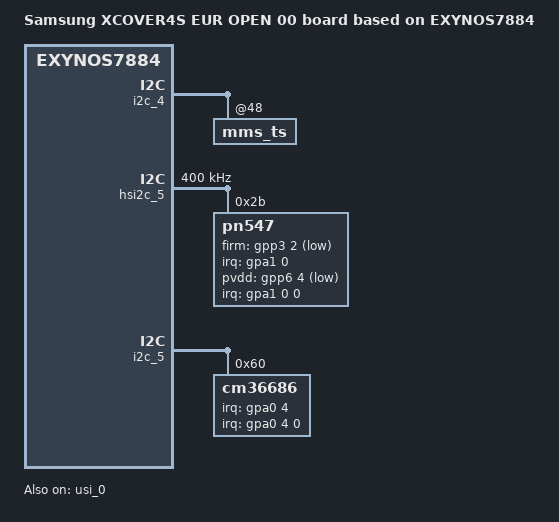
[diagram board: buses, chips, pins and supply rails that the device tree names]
/*
 * SAMSUNG EXYNOS7884 board device tree source

 *
 * Copyright (c) 2018 Samsung Electronics Co., Ltd.
 *		http://www.samsung.com
 *
 * This program is free software; you can redistribute it and/or modify
 * it under the terms of the GNU General Public License version 2 as
 * published by the Free Software Foundation.
*/

/dts-v1/;
/plugin/;

#include "exynos7884-xcover4s_common.dtsi"
#include "exynos7884-xcover4s_eur_open_gpio_00.dtsi"
/ {
	compatible = "samsung,XCOVER4S EUR OPEN 02", "samsung,EXYNOS7884";

	dtbo-hw_rev = <2>;
    dtbo-hw_rev_end = <255>;


	fragment@model {
		target-path = "/";
		__overlay__ {
			#address-cells = <2>;
			#size-cells = <1>;

			model = "Samsung XCOVER4S EUR OPEN 00 board based on EXYNOS7884";

		}; /* end of __overlay__ */
	}; /* end of fragment */
}; /* end of root */

&i2c_4 {
	mms_ts@48 {
		status = "okay";
	};
};

&pinctrl_0 { //11CB0000
	nfc_clk: nfc-clk {
		samsung,pins = "gpq0-0";
		samsung,pin-function = <2>;
		samsung,pin-pud = <0>;
	};

	nfc_int: nfc-int {
		samsung,pins = "gpa1-0";
		samsung,pin-function = <0>;
		samsung,pin-pud = <1>;
	};
};

&pinctrl_3 { //139B0000
	nfc_pvdd_en: nfc_pvdd_en {
		samsung,pins = "gpp6-4";
		samsung,pin-function = <1>;
		samsung,pin-pud = <0>;
		samsung,pin-val = <0>;
		samsung,pin-con-pdn = <3>;
		samsung,pin-pud-pdn = <0>;
	};

	nfc_firm: nfc_firm {
		samsung,pins = "gpp3-2";
		samsung,pin-function = <1>;
		samsung,pin-pud = <0>;
		samsung,pin-val = <0>;
		samsung,pin-con-pdn = <3>;
		samsung,pin-pud-pdn = <0>;
	};

	nfc_pd: nfc_pd {
		samsung,pins = "gpp2-2";
		samsung,pin-function = <2>;
		samsung,pin-pud = <0>;
		samsung,pin-drv = <0>;
		samsung,pin-con-pdn = <3>;
		samsung,pin-pud-pdn = <0>;
	};

	nfc_clk_req: nfc_clk_req {
		samsung,pins = "gpp2-3";
		samsung,pin-function = <2>;
		samsung,pin-pud = <1>;
		samsung,pin-drv = <0>;
		samsung,pin-con-pdn = <3>;
		samsung,pin-pud-pdn = <0>;
	};

	nfc_det: nfc-det {
		samsung,pins = "gpg2-2";
		samsung,pin-function = <0>;
		samsung,pin-pud = <0>;
	};
};

&usi_0 {
	usi_mode = "hsi2c0_hsi2c1";
	status = "okay";
};

&hsi2c_5 {
	status = "okay";
	clock-frequency = <400000>;  /*   400 kHz  */
	pn547@2B {
		compatible = "pn547";
		reg = <0x2B>;

		interrupt-parent = <&gpa1>;
		interrupts = <0 0 0>;

		pn547,nfc_pd = <&gpp2 2 0x2>;
		pn547,firm-gpio = <&gpp3 2 1>;
		pn547,irq-gpio = <&gpa1 0 0>;
		pn547,nfc_clkreq = <&gpp2 3 0x2>;
		pn547,pvdd-gpio = <&gpp6 4 1>;
		pn547,check_nfc =<&gpg2 2 0x0>;
		clkctrl-reg = <0x11C8600C>;

		pinctrl-names = "default";
		pinctrl-0 = <&nfc_pd &nfc_firm &nfc_int &nfc_clk &nfc_pvdd_en &nfc_clk_req &nfc_det>;
	};
};

&i2c_5 {
	status = "okay";
	#address-cells = <1>;
	#size-cells = <0>;
	pinctrl-names = "default";
	pinctrl-0 = <&i2c5_bus>;

	cm36686@60 {
		compatible = "cm36686";
		reg = <0x60>;
		pinctrl-names = "default";
		pinctrl-0 = <&proxy_int &prox_led_en>;
		interrupt-parent = <&gpa0>;
		interrupts = <4 0 0>;
		cm36686,vled_ldo = <&gpp8 1 0x00>; 
		cm36686,irq_gpio = <&gpa0 4 0x00>;
		cm36686,vdd_always_on = <1>;
		cm36686,vled_same_vdd = <0>;
		cm36686,default_hi_thd = <21>;
		cm36686,default_low_thd = <15>;
		cm36686,cancel_hi_thd = <15>;
		cm36686,cancel_low_thd = <10>;
		cm36686,cal_skip_adc = <9>;
		cm36686,cal_fail_adc = <25>;
		cm36686,default_trim = <3>;
	};
};

&mif_pdata {
	pinctrl-names = "default";
	mif,gpio_ds_det = <&gpf3 4 0>;
};
